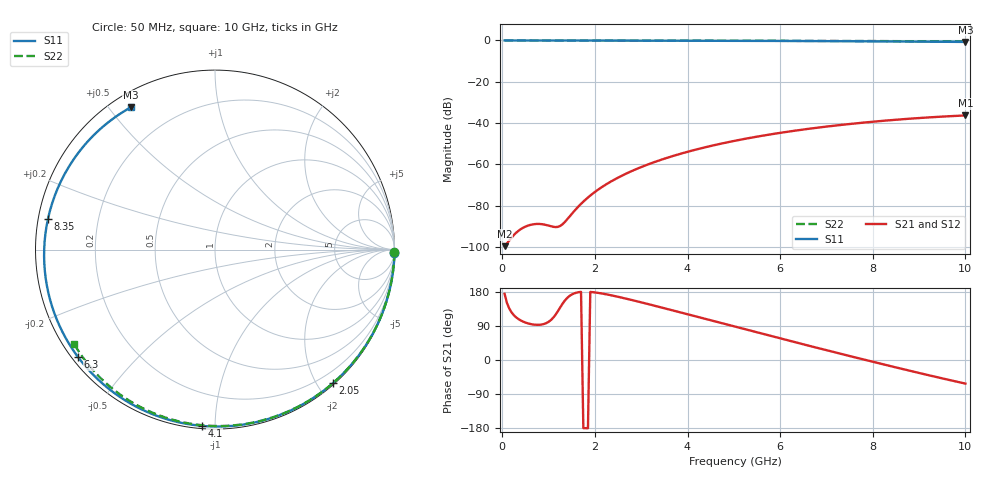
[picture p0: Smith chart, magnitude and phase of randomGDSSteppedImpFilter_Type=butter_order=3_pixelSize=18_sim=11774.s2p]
! freq	dB(S11)	phase(S11)	dB(S12)	phase(S12)
!  dB(S21)	phase(S21)	dB(S22)	phase(S22)
!S-par simulation data
#  GHz  S  DB  R 50
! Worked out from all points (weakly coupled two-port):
!   200 points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, 50 MHz to 10 GHz, reference 50 ohm
!   highest |S21| = -36.33 dB at 10 GHz (marker M1); lowest = -99.7 dB at 50 MHz (marker M2)
!   lowest |S11| = -0.7 dB at 10 GHz (marker M3), VSWR 24.35, Z = 2.72 + j28.4 ohm
!   |S11| at or under -10 dB: nowhere
!   |S22| runs from -0.5 to 0.0 dB; largest |S21 - S12| = 0
!   S11 on the Smith chart (normalised r, x): 50 MHz: 0, -94; 2.05 GHz: 0.02, -2.21; 4.1 GHz: 0.01, -0.93; 6.3 GHz: 0.02, -0.35; 8.35 GHz: 0.03, +0.09; 10 GHz: 0.05, +0.57
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0.05  -0.00 -1.2  -99.66 174.5  -99.66 174.5  -0.00 -0.9
0.8  -0.02 -19.3  -88.90 93.0  -88.90 93.0  -0.02 -13.5
1.65  -0.05 -39.3  -80.29 179.0  -80.29 179.0  -0.04 -27.7
1.75  -0.05 -41.7  -78.07 -179.8  -78.07 -179.8  -0.04 -29.3
2.05  -0.06 -48.6  -72.58 177.5  -72.58 177.5  -0.04 -34.2
2.35  -0.07 -55.5  -68.29 170.8  -68.29 170.8  -0.05 -39.1
2.65  -0.08 -62.3  -64.77 162.6  -64.77 162.6  -0.06 -43.9
3  -0.09 -70.2  -61.33 152.1  -61.33 152.1  -0.06 -49.4
3.4  -0.10 -79.1  -58.03 139.7  -58.03 139.7  -0.07 -55.7
4.1  -0.13 -94.3  -53.34 117.5  -53.34 117.5  -0.09 -66.4
4.55  -0.15 -104.0  -50.86 103.2  -50.86 103.2  -0.11 -73.1
5.05  -0.18 -114.8  -48.48 87.2  -48.48 87.2  -0.12 -80.3
5.65  -0.22 -127.7  -46.02 68.1  -46.02 68.1  -0.15 -88.9
6.3  -0.26 -141.8  -43.77 47.6  -43.77 47.6  -0.18 -97.9
6.7  -0.30 -150.7  -42.56 35.2  -42.56 35.2  -0.20 -103.3
7.55  -0.38 -170.4  -40.36 9.0  -40.36 9.0  -0.26 -114.6
7.95  -0.43 179.8  -39.47 -3.1  -39.47 -3.1  -0.29 -119.9
8.35  -0.48 169.5  -38.68 -15.1  -38.68 -15.1  -0.32 -125.1
8.8  -0.54 157.4  -37.89 -28.4  -37.89 -28.4  -0.36 -130.9
9.2  -0.60 145.9  -37.29 -40.0  -37.29 -40.0  -0.40 -136.0
9.6  -0.66 133.6  -36.77 -51.3  -36.77 -51.3  -0.45 -141.1
10  -0.71 120.7  -36.33 -62.3  -36.33 -62.3  -0.49 -146.3
